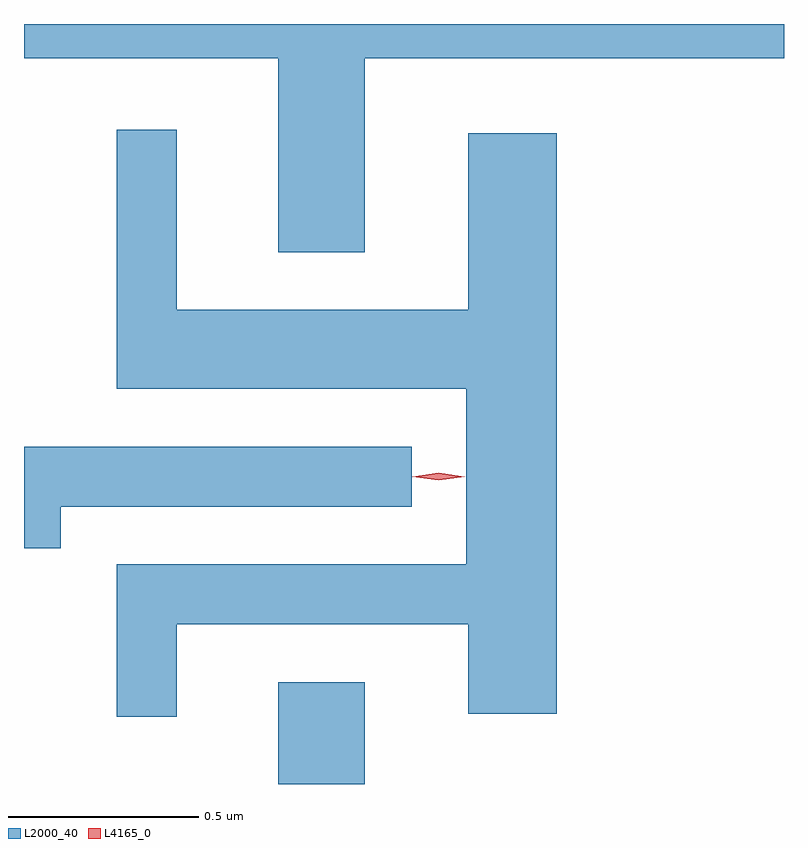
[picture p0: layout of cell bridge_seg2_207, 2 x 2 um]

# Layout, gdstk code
import gdstk
lib = gdstk.Library(unit=1e-6, precision=1e-09)
def R(c, l, rs):  # rectangles x0, y0, x1, y1
    for r in rs: c.add(gdstk.rectangle(r[:2], r[2:], *l))
def P(c, l, *ps):  # polygons
    for p in ps: c.add(gdstk.Polygon(p, *l))
L2000_40 = (2000, 40)
L4165_0 = (4165, 0)

bridge_seg2_207 = lib.new_cell('bridge_seg2_207')
R(bridge_seg2_207, L2000_40, [(899.261,1019.766,899.489,1020.034)])
P(bridge_seg2_207, L2000_40, [(899.489,1021.676),(900.592,1021.676),(900.592,1021.766),(898.592,1021.766),(898.592,1021.676),(899.261,1021.676),(899.261,1021.166),(899.489,1021.166)],
  [(898.994,1020.186),(899.761,1020.186),(899.761,1019.951),(899.994,1019.951),(899.994,1021.479),(899.761,1021.479),(899.761,1021.014),(898.994,1021.014),(898.994,1021.488),(898.836,1021.488),(898.836,1020.806),(899.756,1020.806),(899.756,1020.344),(898.836,1020.344),(898.836,1019.943),(898.994,1019.943)],
  [(898.689,1020.496),(899.613,1020.496),(899.613,1020.654),(898.592,1020.654),(898.592,1020.386),(898.689,1020.386)])
P(bridge_seg2_207, L4165_0, [(899.683,1020.565),(899.618,1020.574),(899.617,1020.575),(899.618,1020.575),(899.683,1020.585),(899.749,1020.575),(899.749,1020.575),(899.749,1020.574)],
  [(899.683,1020.565),(899.614,1020.574),(899.614,1020.575),(899.614,1020.575),(899.683,1020.585),(899.752,1020.575),(899.752,1020.575),(899.752,1020.574)])

lib.write_gds('bridge_seg2_207.gds')
